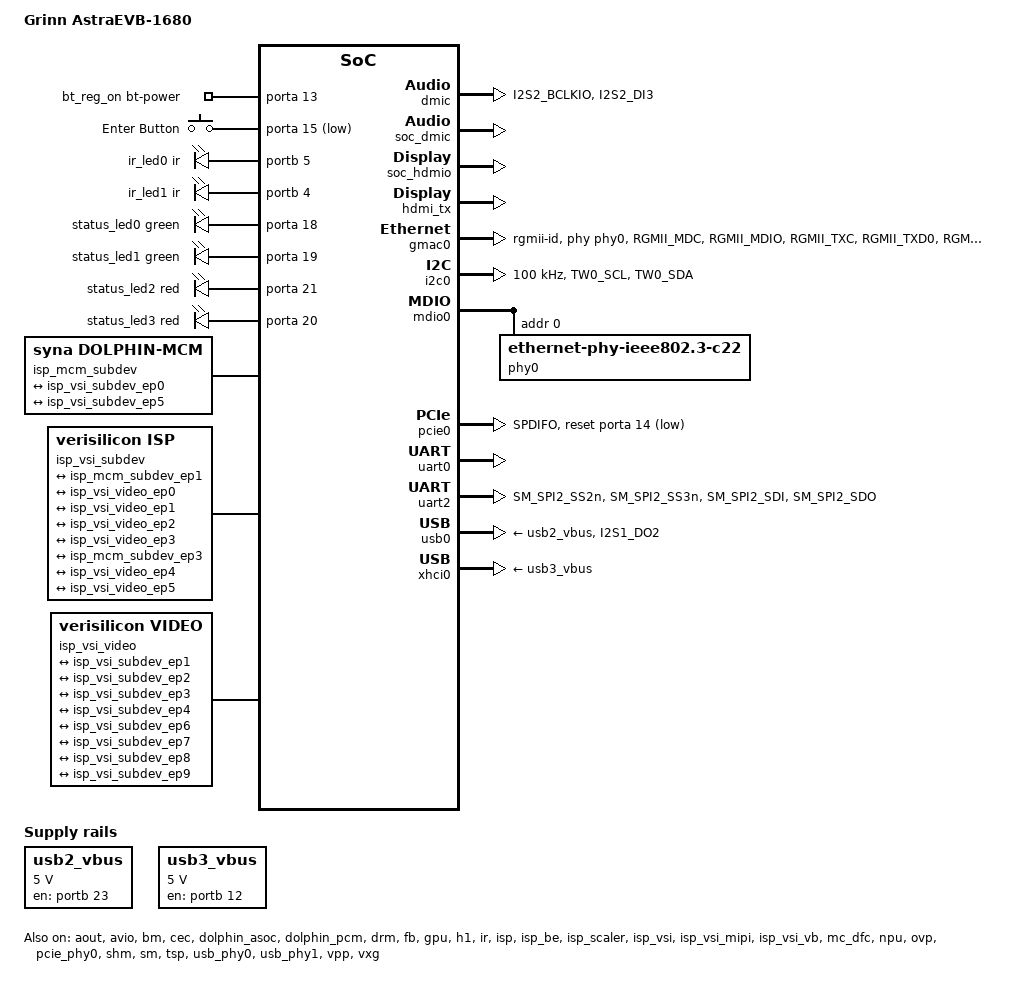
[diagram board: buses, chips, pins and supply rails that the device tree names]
/* SPDX-License-Identifier: GPL-2.0+ */
/*
* Copyright (C) 2016~2023 Synaptics Incorporated. All rights reserved.
*
* This program is free software; you can redistribute it and/or modify
* it under the terms of the GNU General Public License version 2 or
* later as published by the Free Software Foundation.
*
* INFORMATION CONTAINED IN THIS DOCUMENT IS PROVIDED "AS-IS," AND
* SYNAPTICS EXPRESSLY DISCLAIMS ALL EXPRESS AND IMPLIED WARRANTIES,
* INCLUDING ANY IMPLIED WARRANTIES OF MERCHANTABILITY AND FITNESS FOR
* A PARTICULAR PURPOSE, AND ANY WARRANTIES OF NON-INFRINGEMENT OF ANY
* INTELLECTUAL PROPERTY RIGHTS. IN NO EVENT SHALL SYNAPTICS BE LIABLE
* FOR ANY DIRECT, INDIRECT, INCIDENTAL, SPECIAL, PUNITIVE, OR
* CONSEQUENTIAL DAMAGES ARISING OUT OF OR IN CONNECTION WITH THE USE
* OF THE INFORMATION CONTAINED IN THIS DOCUMENT, HOWEVER CAUSED AND
* BASED ON ANY THEORY OF LIABILITY, WHETHER IN AN ACTION OF CONTRACT,
* NEGLIGENCE OR OTHER TORTIOUS ACTION, AND EVEN IF SYNAPTICS WAS
* ADVISED OF THE POSSIBILITY OF SUCH DAMAGE. IF A TRIBUNAL OF
* COMPETENT JURISDICTION DOES NOT PERMIT THE DISCLAIMER OF DIRECT
* DAMAGES OR ANY OTHER DAMAGES, SYNAPTICS' TOTAL CUMULATIVE LIABILITY
* TO ANY PARTY SHALL NOT EXCEED ONE HUNDRED U.S. DOLLARS.
*/

/dts-v1/;

#include <dt-bindings/gpio/gpio.h>
#include <dt-bindings/input/input.h>
#include <dt-bindings/leds/common.h>
#include "grinn-astra-1680-som.dtsi"

/delete-node/ &isp_vsi_subdev;
/delete-node/ &isp_vsi_video;

/ {
	model = "Grinn AstraEVB-1680";
	compatible = "grinn,grinn-astra-1680-evb", "syna,dolphin";

	bt_reg_on: bt_reg_on {
		compatible = "syna,rfkill";
		status = "okay";
		bt-power-gpio = <&porta 13 GPIO_ACTIVE_HIGH>;
		pinctrl-0 = <&bt_reg_on_pmux>;
		pinctrl-names = "default";
	};

	keys {
		compatible = "gpio-keys";
		status = "okay";
		pinctrl-0 = <&button_pmux>;
		pinctrl-names = "default";

		user-button {
			label = "Enter Button";
			linux,code = <KEY_ENTER>;
			gpios = <&porta 15 GPIO_ACTIVE_LOW>;
			debounce-interval = <50>;
		};
	};

	leds {
		compatible = "gpio-leds";
		status = "okay";
		pinctrl-0 = <&ir_led_en1_pmux>, <&ir_led_en2_pmux>,
			    <&led0_pmux>, <&led1_pmux>, <&led2_pmux>, <&led3_pmux>;
		pinctrl-names = "default";

		ir_led0: led-ir-0 {
			gpios = <&portb 5 GPIO_ACTIVE_HIGH>;
			color = <LED_COLOR_ID_IR>;
			function = LED_FUNCTION_TORCH;
			function-enumerator = <0>;
			default-state = "off";
		};

		ir_led1: led-ir-1 {
			gpios = <&portb 4 GPIO_ACTIVE_HIGH>;
			color = <LED_COLOR_ID_IR>;
			function = LED_FUNCTION_TORCH;
			function-enumerator = <1>;
			default-state = "off";
		};

		status_led0: status-led-0 {
			gpios = <&porta 18 GPIO_ACTIVE_HIGH>;
			color = <LED_COLOR_ID_GREEN>;
			function = LED_FUNCTION_POWER;
			linux,default-trigger = "default-on";
			default-state = "off";
		};

		status_led1: status-led-1 {
			gpios = <&porta 19 GPIO_ACTIVE_HIGH>;
			color = <LED_COLOR_ID_GREEN>;
			function = LED_FUNCTION_HEARTBEAT;
			linux,default-trigger = "heartbeat";
			default-state = "off";
		};

		status_led2: status-led-2 {
			gpios = <&porta 21 GPIO_ACTIVE_HIGH>;
			color = <LED_COLOR_ID_RED>;
			function = LED_FUNCTION_DISK_ACTIVITY;
			linux,default-trigger = "mmc0";
			default-state = "off";
		};

		status_led3: status-led-3 {
			gpios = <&porta 20 GPIO_ACTIVE_HIGH>;
			color = <LED_COLOR_ID_RED>;
			function = LED_FUNCTION_FAULT;
			linux,default-trigger = "panic";
			default-state = "off";
		};
	};

	regulators {
		compatible = "simple-bus";
		#address-cells = <1>;
		#size-cells = <0>;

		usb2_vbus: usb2_vbus {
			compatible = "regulator-fixed";
			regulator-min-microvolt = <5000000>;
			regulator-max-microvolt = <5000000>;
			regulator-name = "usb2-vbus";
			enable-active-high;
			gpio = <&portb 23 GPIO_ACTIVE_HIGH>;
			pinctrl-0 = <&usb2_vbus_pmux>;
			pinctrl-names = "default";
		};

		usb3_vbus: usb3_vbus {
			compatible = "regulator-fixed";
			regulator-min-microvolt = <5000000>;
			regulator-max-microvolt = <5000000>;
			regulator-name = "usb3-vbus";
			enable-active-high;
			gpio = <&portb 12 GPIO_ACTIVE_HIGH>;
			pinctrl-0 = <&usb3_vbus_pmux>;
			pinctrl-names = "default";
		};
	};

	soc {
		isp_mcm_subdev: isp_mcm_subdev {
			id = <0>;
			status = "okay";
			compatible = "syna,dolphin-mcm";

			ports {
				#address-cells = <1>;
				#size-cells = <0>;
				port@1 {
					reg = <1>;
					#address-cells = <1>;
					#size-cells = <0>;
					isp_mcm_subdev_ep1: endpoint@1 {
						reg = <1>;
						remote-endpoint = <&isp_vsi_subdev_ep0>;
					};
				};

				port@3 {
					reg = <3>;
					#address-cells = <1>;
					#size-cells = <0>;
					isp_mcm_subdev_ep3: endpoint@3 {
						reg = <3>;
						remote-endpoint = <&isp_vsi_subdev_ep5>;
					};
				};
			};
		};

		isp_vsi_subdev: isp_vsi_subdev {
			id = <0>;
			status = "okay";
			compatible = "verisilicon,isp";

			ports {
				#address-cells = <1>;
				#size-cells = <0>;

				port@0 {
					reg = <0>;
					#address-cells = <1>;
					#size-cells = <0>;
					isp_vsi_subdev_ep0: endpoint@0 {
						reg = <0>;
						remote-endpoint = <&isp_mcm_subdev_ep1>;
					};
				};

				port@1 {
					reg = <1>;
					#address-cells = <1>;
					#size-cells = <0>;
					isp_vsi_subdev_ep1: endpoint@1 {
						reg = <1>;
						remote-endpoint = <&isp_vsi_video_ep0>;
					};
				};

				port@2 {
					reg = <2>;
					#address-cells = <1>;
					#size-cells = <0>;
					isp_vsi_subdev_ep2: endpoint@2 {
						reg = <2>;
						remote-endpoint = <&isp_vsi_video_ep1>;
					};
				};

				port@3 {
					reg = <3>;
					#address-cells = <1>;
					#size-cells = <0>;
					isp_vsi_subdev_ep3: endpoint@3 {
						reg = <3>;
						remote-endpoint = <&isp_vsi_video_ep2>;
					};
				};

				port@4 {
					reg = <4>;
					#address-cells = <1>;
					#size-cells = <0>;
					isp_vsi_subdev_ep4: endpoint@4 {
						reg = <4>;
						remote-endpoint = <&isp_vsi_video_ep3>;
					};
				};

				port@5 {
					reg = <5>;
					#address-cells = <1>;
					#size-cells = <0>;
					isp_vsi_subdev_ep5: endpoint@5 {
						reg = <5>;
						remote-endpoint = <&isp_mcm_subdev_ep3>;
					};
				};

				port@6 {
					reg = <6>;
					#address-cells = <1>;
					#size-cells = <0>;
					isp_vsi_subdev_ep6: endpoint@6 {
						reg = <6>;
						remote-endpoint = <&isp_vsi_video_ep4>;
					};
				};

				port@7 {
					reg = <7>;
					#address-cells = <1>;
					#size-cells = <0>;
					isp_vsi_subdev_ep7: endpoint@7 {
						reg = <7>;
						remote-endpoint = <&isp_vsi_video_ep5>;
					};
				};

				port@8 {
					reg = <8>;
					#address-cells = <1>;
					#size-cells = <0>;
					isp_vsi_subdev_ep8: endpoint@8 {
						reg = <8>;
						remote-endpoint = <&isp_vsi_video_ep6>;
					};
				};

				port@9 {
					reg = <9>;
					#address-cells = <1>;
					#size-cells = <0>;
					isp_vsi_subdev_ep9: endpoint@9 {
						reg = <9>;
						remote-endpoint = <&isp_vsi_video_ep7>;
					};
				};
			};
		};

		isp_vsi_video: isp_vsi_video {
			status = "okay";
			compatible = "verisilicon,video";

			ports {
				#address-cells = <1>;
				#size-cells = <0>;
				port@0 {
					reg = <0>;
					#address-cells = <1>;
					#size-cells = <0>;
					isp_vsi_video_ep0: endpoint@0 {
						reg = <0>;
						remote-endpoint = <&isp_vsi_subdev_ep1>;
					};
				};

				port@1 {
					reg = <1>;
					#address-cells = <1>;
					#size-cells = <0>;
					isp_vsi_video_ep1: endpoint@1 {
						reg = <1>;
						remote-endpoint = <&isp_vsi_subdev_ep2>;
					};
				};

				port@2 {
					reg = <2>;
					#address-cells = <1>;
					#size-cells = <0>;
					isp_vsi_video_ep2: endpoint@2 {
						reg = <2>;
						remote-endpoint = <&isp_vsi_subdev_ep3>;
					};
				};

				port@3 {
					reg = <3>;
					#address-cells = <1>;
					#size-cells = <0>;
					isp_vsi_video_ep3: endpoint@3 {
						reg = <3>;
						remote-endpoint = <&isp_vsi_subdev_ep4>;
					};
				};

				port@4 {
					reg = <4>;
					#address-cells = <1>;
					#size-cells = <0>;
					isp_vsi_video_ep4: endpoint@4 {
						reg = <4>;
						remote-endpoint = <&isp_vsi_subdev_ep6>;
					};
				};

				port@5 {
					reg = <5>;
					#address-cells = <1>;
					#size-cells = <0>;
					isp_vsi_video_ep5: endpoint@5 {
						reg = <5>;
						remote-endpoint = <&isp_vsi_subdev_ep7>;
					};
				};

				port@6 {
					reg = <6>;
					#address-cells = <1>;
					#size-cells = <0>;
					isp_vsi_video_ep6: endpoint@6 {
						reg = <6>;
						remote-endpoint = <&isp_vsi_subdev_ep8>;
					};
				};

				port@7 {
					reg = <7>;
					#address-cells = <1>;
					#size-cells = <0>;
					isp_vsi_video_ep7: endpoint@7 {
						reg = <7>;
						remote-endpoint = <&isp_vsi_subdev_ep9>;
					};
				};
			};
		};
	};
};

&aout {
	status = "okay";
};

&avio {
	status = "okay";
	pinctrl-0 = <&hdmitx5v_pmux>;
	pinctrl-names = "default";

	vpp {
		hdtx5v-gpio = <&portb 6 GPIO_ACTIVE_HIGH>;
	};
};

&avio_pinctrl {
	bt_reg_on_pmux: bt-reg-on-pmux {
		groups = "I2S2_LRCKIO";
		function = "gpio";
	};

	button_pmux: button-pmux {
		groups = "I2S1_DO3";
		function = "gpio";
	};

	led0_pmux: led0-pmux {
		groups = "I2S1_MCLK";
		function = "gpio";
	};

	led1_pmux: led1-pmux {
		groups = "I2S1_DO0";
		function = "gpio";
	};

	led2_pmux: led2-pmux {
		groups = "I2S1_LRCKIO";
		function = "gpio";
	};

	led3_pmux: led3-pmux {
		groups = "I2S1_BCLKIO";
		function = "gpio";
	};

	pcie_rst_pmux: pcie-rst-pmux {
		groups = "SPDIFO";
		function = "gpio";
	};

	pdm_pmux: pdm-pmux {
		groups = "I2S2_BCLKIO", "I2S2_DI3";
		function = "pdm";
	};

	usb2_oc_pmux: usb2-oc-pmux {
		groups = "I2S1_DO2";
		function = "gpio";
	};
};

&axi_mc0 {
	status = "okay";
};

&bm {
	status = "okay";
};

&cec {
	status = "okay";
	pinctrl-0 = <&cec_pmux>;
	pinctrl-names = "default";
	hdmi-phandle = <&drm>;
};

&dmic {
	status = "okay";
	pinctrl-0 = <&pdm_pmux>;
	pinctrl-names = "default";
	pdm-type = <0>;
	pdm-clk-sel = <0>;
	ch-shift-check;
	disablemicmute;
};

&dolphin_asoc {
	status = "okay";

	soc_dmic: soc-dmic {
		status = "okay";
		stream-name = "soc-dmic";
		link-name = "soc-dmic";
		cpu-node = <&dmic>;
		codec-name = "snd-soc-dummy";
		codec-dai-name = "snd-soc-dummy-dai";
		platform-node = <&dolphin_pcm>;
	};

	soc_hdmio: soc-hdmio {
		status = "okay";
		stream-name = "soc-hdmio";
		link-name = "soc-hdmio";
		format = "i2s";
		cpu-node = <&hdmi_out>;
		codec-name = "snd-soc-dummy";
		codec-dai-name = "snd-soc-dummy-dai";
		platform-node = <&dolphin_pcm>;
	};
};

&dolphin_pcm {
	status = "okay";
};

&drm {
	status = "okay";

	/* Supported Modes:	0 - HDMI Only
	 *			1 - MIPI Only
	 *			2 - Dual Mode PIP
	 *
	 * Supported types:	0 - HDMI
	 *			3 - MIPI-DSI
	 */
	disp-mode = <2>;
	disp1-res-id = <61>;
	disp1-type = <0>;
	disp2-res-id = <102>;
	disp2-type = <3>;
	sw_partition = <14>;
	devnum = <0>;
	hw_partition = <0>; //0 - Default; 4 - 7 For GP1 to GP4

	dsi_panel {
		status = "okay";
	};

	hdmi_tx {
		status= "okay";
		/* HDMI_Tx core config array with fields as in below order -
		   HPD handling - 1:enable sink hotplug handling 0:disable sink hotplug handling
		   FixedModeset - 1:Enable mode config from within drm driver(on HPD), disable modeset interface to user
				  0:Expose user interface to set mode, don't control from within drm driver
		 */
		hdtx-core-config = /bits/ 8 <1 1>;
		/* Select format IDs enabled for profile. enter number of entries (inclusive) followed by entries <size, n1, n2..>
		   ID to res mapping as below
		   1280x720P30=10 1280x720P60=13
		   1920x1080P24=22 1920x1080P25=21 1920x1080P30=19 1920x1080P50=26 1920x1080P59.94=25 1920x1080P60=24
		   3840x2160P24=57 3840x2160P25=59 3840x2160P30=61 3840x2160P50=62 3840x2160P59.94=63 3840x2160P60=64 */
		hdtx-supported-formats = /bits/ 8 <12 10 13 22 21 19 26 25 24 61 62 64>;
	};
};

&fb {
	status = "okay";
};

&gmac0 {
	status = "okay";
	pinctrl-0 = <&gmac0_pmux>, <&gmac_gpio_pmux>;
	pinctrl-names = "default";
	phy-handle = <&phy0>;
	phy-mode = "rgmii-id";
	snps,reset-gpio = <&portd 8 GPIO_ACTIVE_HIGH>;
	snps,reset-delays-us = <0 10000 50000>;
	snps,reset-active-low;
	syna,txc-90deg;
};

&gpu {
	status = "okay";
};

&h1 {
	status = "okay";
};

&hdmi_in {
	status = "okay";
};

&hdmi_out {
	status = "okay";
};

&i2c0 {
	status = "okay";
	pinctrl-names = "default";
	pinctrl-0 = <&i2c0_pmux>;
	clock-frequency = <100000>;
	no-irq-suspend;
};

&ir {
	status = "okay";
};

&isp {
	status = "okay";
};

&isp_be {
	status = "okay";
};

&isp_scaler {
	status = "okay";
};

&isp_vsi {
	status = "okay";
};

&isp_vsi_mipi {
	status = "okay";
};

&isp_vsi_vb {
	status = "okay";
};

&mc_dfc {
	status = "okay";
};

&mdio0 {
	phy0: ethernet-phy@0 {
		reg = <0>;
		compatible = "ethernet-phy-ieee802.3-c22";
		device_type = "ethernet-phy";
		rxc-skew-ps = <1500>;
		rxdv-skew-ps = <420>;
		rxd0-skew-ps = <420>;
		rxd1-skew-ps = <420>;
		rxd2-skew-ps = <420>;
		rxd3-skew-ps = <420>;
		txc-skew-ps = <900>;
		txen-skew-ps = <420>;
		txd0-skew-ps = <420>;
		txd1-skew-ps = <420>;
		txd2-skew-ps = <420>;
		txd3-skew-ps = <420>;
	};
};

&npu {
	status = "okay";
};

&ovp {
	status = "okay";
};

&pcie_phy0 {
	status = "okay";
};

&pcie0 {
	status = "okay";
	reset-gpios = <&porta 14 GPIO_ACTIVE_LOW>;
	pinctrl-0 = <&pcie_rst_pmux>;
	pinctrl-names = "default";
};

&pinctrl {
	hdmitx5v_pmux: hdmitx5v-pmux {
		groups = "STS1_SOP";
		function = "gpio";
	};

	ir_led_en1_pmux: ir-led-en1-pmux {
		groups = "STS1_SD";
		function = "gpio";
	};

	ir_led_en2_pmux: ir-led-en2-pmux {
		groups = "STS1_VALD";
		function = "gpio";
	};

	usb2_vbus_pmux: usb2-vbus-pmux {
		groups = "USB2_DRV_VBUS";
		function = "gpio";
	};

	usb3_vbus_pmux: usb3_vbus_pmux {
		groups = "SDIO_WP";
		function = "gpio";
	};

	gmac0_pmux: gmac0-pmux {
		groups = "RGMII_MDC", "RGMII_MDIO", "RGMII_TXC", "RGMII_TXD0",
			 "RGMII_TXD1", "RGMII_TXD2", "RGMII_TXD3", "RGMII_TXCTL", "RGMII_RXC",
			 "RGMII_RXD0", "RGMII_RXD1", "RGMII_RXD2", "RGMII_RXD3", "RGMII_RXCTL";
		function = "rgmii";
		drive-strength = <3>;
	};

	i2c0_pmux: i2c0-pmux {
		groups = "TW0_SCL", "TW0_SDA";
		function = "tw0";
		drive-strength = <7>;
	};
};

&porta {
	gpio-line-names =
		"", "", "", "", "", "", "", "",
		"", "", "", "", "", "BT_REG_ON", "PCIE_RSTn", "BUTTONn",
		"USB2_OCn", "", "LED0", "LED1", "LED3", "LED2", "", "",
		"", "", "", "", "", "", "", "";
};

&portb {
	gpio-line-names =
		"", "", "", "", "IR_LED_EN2", "IR_LED_EN1", "HDMI_TX_5V_EN", "",
		"", "", "", "", "USB3_EN", "", "", "",
		"", "", "", "", "", "", "", "USB2_EN",
		"", "", "", "", "", "", "", "";
};

&portd {
	pinctrl-0 = <&led_en_pmux>, <&pwr_en_pmux>;
	pinctrl-names = "default";

	gpio-line-names =
		"", "", "", "", "", "", "", "",
		"", "", "", "", "", "", "", "",
		"LED_ENn", "PWR_ENn", "", "", "", "", "", "",
		"", "", "", "", "", "", "", "";
};

&shm {
	status = "okay";
};

&sm {
	status = "okay";
};

&sm_pinctrl {
	cec_pmux: cec-pmux {
		groups = "SM_HDMI_CEC";
		function = "hdmi";
	};

	led_en_pmux: led-en-pmux {
		groups = "SM_SPI2_SS1n";
		function = "gpio";
	};

	pwr_en_pmux: pwr-en-pmux {
		groups = "SM_SPI2_SS0n";
		function = "gpio";
	};

	gmac_gpio_pmux: gmac_gpio_pmux {
		groups = "SM_TDO";
		function = "gpio";
	};

	uart2_pmux: uart2-pmux {
		groups = "SM_SPI2_SS2n", "SM_SPI2_SS3n", "SM_SPI2_SDI", "SM_SPI2_SDO";
		function = "uart2";
		drive-strength = <3>;
	};
};

&tsp {
	status = "okay";
};

&uart0 {
	status = "okay";
};

&uart2 {
	status = "okay";
	pinctrl-0 = <&uart2_pmux>;
	pinctrl-names = "default";
};

&usb_phy0  {
	status = "okay";
};

&usb_phy1  {
	status = "okay";
};

&usb0 {
	status = "okay";
	vbus-supply = <&usb2_vbus>;
	pinctrl-0 = <&usb2_oc_pmux>;
	pinctrl-names = "default";
};

&vpp {
	status = "okay";
};

&vxg {
	status = "okay";
};

&xhci0 {
	status = "okay";
	vbus-supply = <&usb3_vbus>;
};
